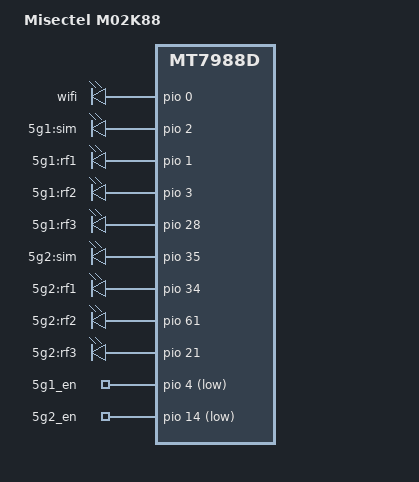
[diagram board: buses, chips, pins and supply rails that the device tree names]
// SPDX-License-Identifier: GPL-2.0-or-later OR MIT

/dts-v1/;
#include "mt7988d-misectel_m02k45-common.dtsi"
#include "mt7988d-misectel-m02-spim-nand.dtsi"

/ {
	model = "Misectel M02K88";
	compatible = "misectel,m02k88", "mediatek,mt7988d";

	aliases {
		/delete-property/ led-boot;
		/delete-property/ led-failsafe;
		/delete-property/ led-running;
		/delete-property/ led-upgrade;
	};

	/* M02K88 uses two SIM + three-bar banks, not the M02K45 LEDs. */
	/delete-node/ gpio-leds;
	gpio-leds {
		compatible = "gpio-leds";

		led-wifi {
			label = "wifi";
			gpios = <&pio 0 GPIO_ACTIVE_HIGH>;
		};

		led-5g1-sim {
			label = "5g1:sim";
			gpios = <&pio 2 GPIO_ACTIVE_HIGH>;
		};

		led-5g1-rf1 {
			label = "5g1:rf1";
			gpios = <&pio 1 GPIO_ACTIVE_HIGH>;
		};

		led-5g1-rf2 {
			label = "5g1:rf2";
			gpios = <&pio 3 GPIO_ACTIVE_HIGH>;
		};

		led-5g1-rf3 {
			label = "5g1:rf3";
			gpios = <&pio 28 GPIO_ACTIVE_HIGH>;
		};

		led-5g2-sim {
			label = "5g2:sim";
			gpios = <&pio 35 GPIO_ACTIVE_HIGH>;
		};

		led-5g2-rf1 {
			label = "5g2:rf1";
			gpios = <&pio 34 GPIO_ACTIVE_HIGH>;
		};

		led-5g2-rf2 {
			label = "5g2:rf2";
			gpios = <&pio 61 GPIO_ACTIVE_HIGH>;
		};

		led-5g2-rf3 {
			label = "5g2:rf3";
			gpios = <&pio 21 GPIO_ACTIVE_HIGH>;
		};
	};

	/delete-node/ gpio-export;
	gpio-export {
		compatible = "gpio-export";

		gpio-5g1-en {
			gpio-export,name = "5g1_en";
			gpios = <&pio 4 GPIO_ACTIVE_LOW>;
			gpio-export,output = <0>;
		};

		gpio-5g2-en {
			gpio-export,name = "5g2_en";
			gpios = <&pio 14 GPIO_ACTIVE_LOW>;
			gpio-export,output = <0>;
		};
	};
};

/* LAN2/3 share the PHY LED pinmux and polarities with M02K45. */

/* LAN1 retains the PHY driver's strap-derived polarity. */
&gsw_phy2_led0 {
	/delete-property/ active-low;
};

&gsw_phy2_led1 {
	/delete-property/ active-low;
};

/* GPIO61 belongs to the second modem's RF2 LED. */
&gsw_phy3 {
	pinctrl-0 = <>;
};

&gsw_phy3_led0 {
	status = "disabled";
};

&gsw_phy3_led1 {
	status = "disabled";
};
